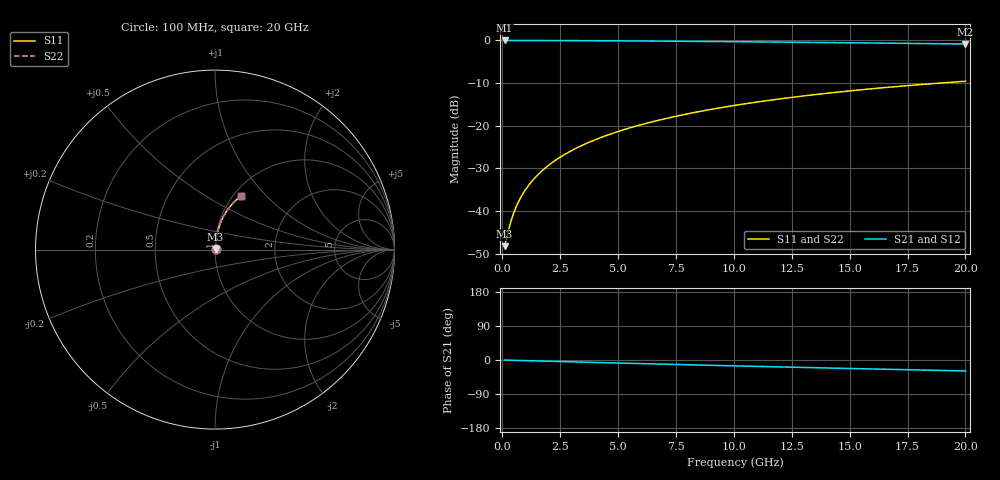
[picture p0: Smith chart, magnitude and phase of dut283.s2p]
! Touchstone file exported from HFSS 2024.1.0
!  File:  C:/UserFiles/LocalFiles/RDL_TSV_Batchsim/temp_RDL_top_283_1778690132.aedt
!  Generated:  12:37:57 AM May 14, 2026
!  Design:  RDL_top
!  Project:  temp_RDL_top_283_1778690132
!  Setup:  Setup1
!  Solution:  Sweep
! Variables:
!  dtsv = 10.80580581um
!  hbump = 3um
!  htsv = 88.37um
!  ldown = 100um
!  lrdl = 355.84um
!  p = 40
!  p1 = 45.64um
!  rhole = 1um
!  t = 450um
!  tdown = 3.915915916um
!  trdl = 2.59um
!  wdown = 15.38538539um
!  wrdl = 15.17um
# GHz S MA R 50.000000
! Terminal data exported
! Port[1] = Box2_T1
! Port[2] = Box2_T2
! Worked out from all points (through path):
!   200 points, 100 MHz to 20 GHz, reference 50 ohm
!   highest |S21| = -0.03 dB at 100 MHz (marker M1); lowest = -0.9 dB at 20 GHz (marker M2)
!   group delay of S21, straight-line fit = 4.01 ps
!   lowest |S11| = -48.3 dB at 100 MHz (marker M3), VSWR 1.01, Z = 50.3 + j0.18 ohm
!   |S11| at or under -10 dB: start of sweep to 18.96 GHz
!   |S22| runs from -48.3 to -9.6 dB; largest |S21 - S12| = 3.5e-15
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0.1  0.003855 27.7  0.9966 -0.2  0.9966 -0.2  0.003855 27.7
! Gamma 0 0 0 0
! Port Impedance 50 0 50 0
0.3  0.006402 56.4  0.9964 -0.5  0.9964 -0.5  0.006402 56.4
0.4  0.007949 62.8  0.9963 -0.7  0.9963 -0.7  0.007949 62.8
0.5  0.009546 66.9  0.9962 -0.8  0.9962 -0.8  0.009546 66.9
0.6  0.01116 69.9  0.9961 -1.0  0.9961 -1.0  0.01116 69.9
0.7  0.01279 72.0  0.996 -1.2  0.996 -1.2  0.01279 72.0
0.9  0.01605 75.1  0.9958 -1.5  0.9958 -1.5  0.01605 75.1
1.2  0.02098 77.8  0.9954 -2.0  0.9954 -2.0  0.02098 77.8
1.4  0.02428 79.0  0.9951 -2.3  0.9951 -2.3  0.02428 79.0
1.7  0.02925 80.3  0.9947 -2.8  0.9947 -2.8  0.02925 80.3
2.2  0.0376 81.5  0.9939 -3.6  0.9939 -3.6  0.0376 81.5
2.8  0.0477 82.3  0.9927 -4.5  0.9927 -4.5  0.0477 82.3
3.5  0.05957 82.5  0.991 -5.6  0.991 -5.6  0.05957 82.5
4.2  0.07153 82.4  0.989 -6.8  0.989 -6.8  0.07153 82.4
5  0.08529 82.1  0.9864 -8.0  0.9864 -8.0  0.08529 82.1
5.9  0.1009 81.4  0.9831 -9.4  0.9831 -9.4  0.1009 81.4
6.8  0.1165 80.7  0.9794 -10.8  0.9794 -10.8  0.1165 80.7
8.4  0.1443 79.0  0.9722 -13.1  0.9722 -13.1  0.1443 79.0
10.1  0.1737 77.0  0.9638 -15.6  0.9638 -15.6  0.1737 77.0
13.4  0.2293 72.7  0.9457 -20.3  0.9457 -20.3  0.2293 72.7
16.7  0.2821 68.4  0.9261 -24.7  0.9261 -24.7  0.2821 68.4
20  0.3313 64.1  0.9055 -28.9  0.9055 -28.9  0.3314 64.1
